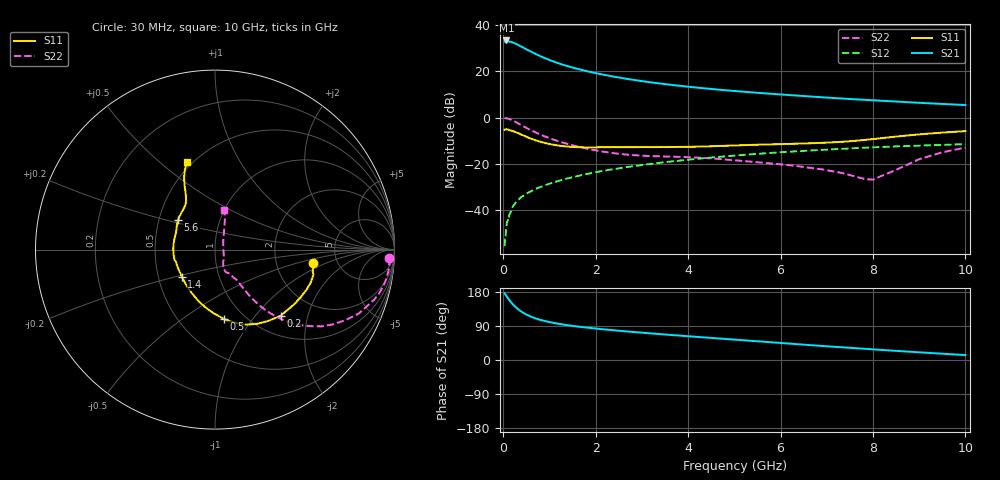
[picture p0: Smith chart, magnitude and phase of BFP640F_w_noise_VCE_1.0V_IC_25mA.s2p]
! Infineon Technologies  Discrete & RF Semiconductors
! BFP640F
! VCE =  1.0 V,  IC =  25 mA
! Common Emitter S-Parameters:  Apr 2013
# GHz  S  MA  R  50
!  f  S11  S21  S12  S22
! GHz  MAG  ANG  MAG  ANG  MAG  ANG  MAG  ANG
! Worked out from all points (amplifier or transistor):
!   99 points, 30 MHz to 10 GHz, reference 50 ohm
!   highest |S21| = 33.3 dB at 70 MHz (marker M1)
!   |S21| within 3 dB of that: start of sweep to 426.9 MHz
!   unconditionally stable (mu >= 1): 1.928 GHz to end of sweep
!   at 350 MHz: K = 0.42, MSG = 33.0 dB, |S12| = -35.0 dB
!   at 3.5 GHz: K = 1.05, MAG = 15.4 dB, |S12| = -19.2 dB
!   at 10 GHz: K = 1.05, MAG = 7.1 dB, |S12| = -11.4 dB
!   lowest NFmin = 0.90 dB at 450 MHz
!   S11 on the Smith chart (normalised r, x): 30 MHz: 3.30, -0.71; 200 MHz: 1.36, -1.37; 500 MHz: 0.81, -0.73; 1.4 GHz: 0.66, -0.21; 5.6 GHz: 0.63, +0.22; 10 GHz: 0.47, +0.62
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0.03  0.5526 -7.8  44 175.9  0.0017 99.7  0.9734 -2.9
0.05  0.5577 -12.7  45.7 172.5  0.0024 75.0  0.9739 -5.8
0.07  0.5643 -17.0  46.4 168.7  0.0044 83.6  0.9705 -8.3
0.09  0.5596 -21.7  45.8 165.0  0.0058 86.1  0.9637 -11.0
0.15  0.5341 -35.5  43.67 155.5  0.0087 80.8  0.9204 -18.5
0.2  0.5191 -45.2  42.02 148.1  0.0118 76.4  0.8772 -23.9
0.25  0.4962 -53.2  40.3 141.8  0.0139 73.8  0.8265 -28.4
0.3  0.4761 -60.2  38.3 136.2  0.016 71.7  0.7777 -32.4
0.35  0.4525 -67.6  35.72 131.2  0.0178 70.3  0.7313 -35.8
0.5  0.3883 -82.9  29.98 120.0  0.0229 68.1  0.6039 -43.1
0.6  0.3546 -91.3  26.67 114.4  0.0261 67.0  0.5371 -46.3
0.8  0.304 -106.7  21.34 106.0  0.0319 66.9  0.4356 -50.3
1.1  0.26 -125.4  16.17 97.6  0.0406 66.7  0.334 -53.0
1.4  0.2391 -140.5  12.92 91.7  0.0493 66.6  0.2712 -53.8
1.7  0.2306 -152.9  10.73 87.0  0.058 65.9  0.2278 -54.0
2.4  0.2321 -173.1  7.674 78.4  0.0782 63.9  0.1717 -57.6
3.4  0.2337 167.0  5.46 68.3  0.1072 59.4  0.1466 -62.1
5.1  0.2542 146.1  3.707 53.0  0.1554 50.1  0.119 -65.3
5.6  0.2636 141.4  3.393 48.6  0.1691 47.2  0.1075 -64.0
6.7  0.2826 129.5  2.849 38.8  0.1976 40.2  0.0818 -56.0
8.5  0.3924 115.5  2.235 24.1  0.2405 28.7  0.0752 51.7
10  0.5143 107.6  1.878 13.0  0.2689 19.7  0.2269 76.8
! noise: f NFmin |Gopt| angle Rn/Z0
0.45  0.9  0.15  -174  0.06
0.9  0.92  0.16  -169  0.06
1.5  0.95  0.16  -163  0.07
1.9  0.98  0.17  -157  0.08
2.4  1.01  0.18  -149  0.08
3.5  1.09  0.19  -139  0.1
5.5  1.27  0.22  -122  0.13
10  1.73  0.43  -86  0.42
